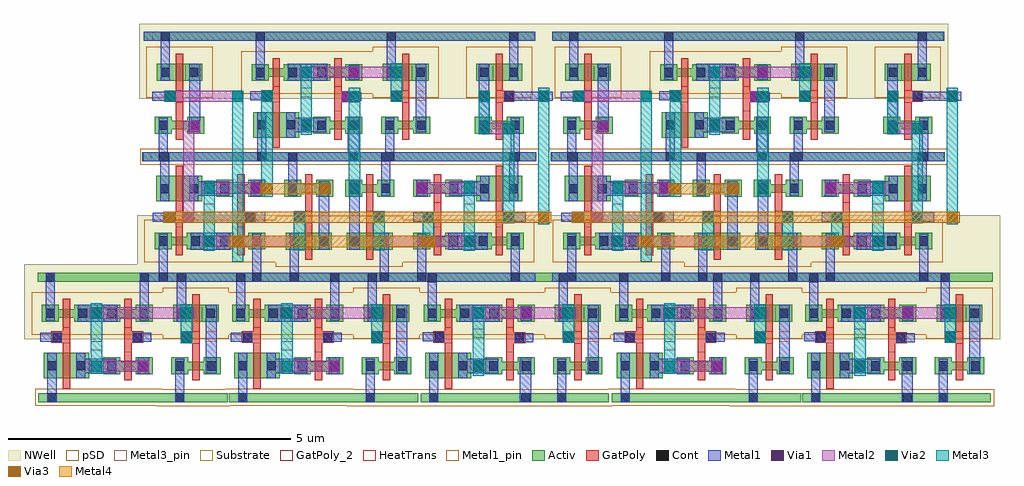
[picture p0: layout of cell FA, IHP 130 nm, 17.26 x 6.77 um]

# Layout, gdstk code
from math import pi, radians
import gdstk
lib = gdstk.Library(unit=1e-6, precision=5e-09)
def R(c, l, rs):  # rectangles x0, y0, x1, y1
    for r in rs: c.add(gdstk.rectangle(r[:2], r[2:], *l))
Activ = (1, 0)
GatPoly = (5, 0)
GatPoly_2 = (5, 2)
Cont = (6, 0)
Metal1 = (8, 0)
Metal1_pin = (8, 2)
Metal2 = (10, 0)
pSD = (14, 0)
Via1 = (19, 0)
Via2 = (29, 0)
Metal3 = (30, 0)
Metal3_pin = (30, 2)
NWell = (31, 0)
Substrate = (40, 0)
Via3 = (49, 0)
Metal4 = (50, 0)
HeatTrans = (51, 0)

pmos_3 = lib.new_cell('pmos$3')
R(pmos_3, Activ, [(0,0,0.3,0.3), (0.57,0,0.87,0.3), (0,0.075,0.87,0.225)])
R(pmos_3, GatPoly, [(0.37,-0.105,0.5,0.405), (0.37,-0.105,0.5,0.405)])
R(pmos_3, Cont, [(0.07,0.07,0.23,0.23), (0.64,0.07,0.8,0.23)])
R(pmos_3, Metal1, [(0.07,0.02,0.23,0.28), (0.07,0.02,0.23,0.28), (0.64,0.02,0.8,0.28), (0.64,0.02,0.8,0.28)])
R(pmos_3, pSD, [(-0.18,-0.225,1.05,0.525)])
R(pmos_3, NWell, [(-0.31,-0.31,1.18,0.61)])
R(pmos_3, Substrate, [(0.57,0,0.87,0.3)])
R(pmos_3, HeatTrans, [(0.37,-0.105,0.5,0.405)])
pmos_3.add(gdstk.Label('pmos', (0.435,0.15), layer=63, texttype=0))
pmos_3.add(gdstk.Label('pmos', (0.435,0.15), layer=51, texttype=0))

nmos_2 = lib.new_cell('nmos$2')
R(nmos_2, Activ, [(0,0,0.3,0.3), (0,0,0.81,0.45), (0.51,0,0.81,0.3)])
R(nmos_2, GatPoly, [(0.34,-0.18,0.47,0.63)])
R(nmos_2, GatPoly_2, [(0.34,-0.18,0.47,0.63)])
R(nmos_2, Cont, [(0.07,0.145,0.23,0.305), (0.58,0.145,0.74,0.305)])
R(nmos_2, Metal1, [(0.07,0,0.23,0.45), (0.58,0,0.74,0.45)])
R(nmos_2, Metal1_pin, [(0.07,0,0.23,0.45), (0.58,0,0.74,0.45)])
R(nmos_2, HeatTrans, [(0.34,-0.18,0.47,0.63)])
nmos_2.add(gdstk.Label('nmos', (0.405,0.225), layer=63, texttype=0))
nmos_2.add(gdstk.Label('nmos', (0.405,0.225), layer=51, texttype=0))

nmos_3_2 = lib.new_cell('nmos$3$2')
R(nmos_3_2, Activ, [(0,0,0.3,0.3), (0.57,0,0.87,0.3), (0,0.075,0.87,0.225)])
R(nmos_3_2, GatPoly, [(0.37,-0.105,0.5,0.405)])
R(nmos_3_2, GatPoly_2, [(0.37,-0.105,0.5,0.405)])
R(nmos_3_2, Cont, [(0.07,0.07,0.23,0.23), (0.64,0.07,0.8,0.23)])
R(nmos_3_2, Metal1, [(0.07,0.02,0.23,0.28), (0.64,0.02,0.8,0.28)])
R(nmos_3_2, Metal1_pin, [(0.07,0.02,0.23,0.28), (0.64,0.02,0.8,0.28)])
R(nmos_3_2, HeatTrans, [(0.37,-0.105,0.5,0.405)])
nmos_3_2.add(gdstk.Label('nmos', (0.435,0.15), layer=63, texttype=0))
nmos_3_2.add(gdstk.Label('nmos', (0.435,0.15), layer=51, texttype=0))

via1_constraint_2 = lib.new_cell('Via1_constraint$2')
R(via1_constraint_2, Metal1, [(0,0,0.2,0.2)])
R(via1_constraint_2, Metal2, [(0,0,0.2,0.2)])
R(via1_constraint_2, Via1, [(0.005,0.005,0.195,0.195)])

via2_constraint_2 = lib.new_cell('Via2_constraint$2')
R(via2_constraint_2, Metal2, [(-0.005,-0.005,0.195,0.195)])
R(via2_constraint_2, Via2, [(0,0,0.19,0.19)])
R(via2_constraint_2, Metal3, [(-0.005,-0.005,0.195,0.195)])

nand_1 = lib.new_cell('NAND$1')
R(nand_1, Activ, [(-0.075,-0.175,2.075,-0.015), (-0.085,1.955,2.095,2.115)])
R(nand_1, GatPoly, [(1.45,0.615,1.58,1.16), (0.16,0.875,0.36,1.075), (0.36,0.875,0.49,1.145), (1.58,0.875,1.78,1.075)])
R(nand_1, Cont, [(0.09,-0.175,0.25,-0.015), (0.18,0.895,0.34,1.055), (1.595,0.895,1.755,1.055), (0.06,1.955,0.22,2.115), (1.72,1.955,1.88,2.115)])
R(nand_1, Metal1, [(0.09,-0.175,0.25,0.245), (1.69,0.315,1.89,0.615), (0.76,0.335,1.31,0.595), (0.18,0.895,0.34,1.055), (1.595,0.895,1.755,1.055), (0.625,1.25,1.325,1.55), (0.06,1.525,0.22,2.115), (1.72,1.525,1.88,2.115)])
R(nand_1, Metal1_pin, [(0.09,-0.175,0.25,-0.015), (0.18,0.895,0.34,1.055), (1.595,0.895,1.755,1.055), (0.06,1.955,0.22,2.115), (1.72,1.955,1.88,2.115)])
R(nand_1, Metal2, [(0.825,0.36,1.89,0.56)])
R(nand_1, pSD, [(-0.13,-0.24,2.115,0.05)])
R(nand_1, Metal3, [(0.855,0.325,1.055,1.57)])
R(nand_1, Metal3_pin, [(0.855,0.74,1.055,0.905)])
R(nand_1, NWell, [(-0.325,1.855,2.26,2.26)])
nand_1.add(gdstk.Reference(pmos_3, (1.95,1.245), rotation=pi, x_reflection=True))
nand_1.add(gdstk.Reference(nmos_2, (0.83,0.245), rotation=pi, x_reflection=True))
nand_1.add(gdstk.Reference(nmos_3_2, (1.95,0.315), rotation=pi, x_reflection=True))
nand_1.add(gdstk.Reference(pmos_3, (0.86,1.245), rotation=pi, x_reflection=True))
nand_1.add(gdstk.Reference(via1_constraint_2, (1.69,0.36)))
nand_1.add(gdstk.Reference(via2_constraint_2, (0.86,0.365)))
nand_1.add(gdstk.Reference(via2_constraint_2, (0.86,1.305)))
nand_1.add(gdstk.Reference(via1_constraint_2, (0.855,1.3)))
nand_1.add(gdstk.Label('VA', (1.63,1.035), layer=8, texttype=2))
nand_1.add(gdstk.Label('VSS', (0.16,-0.05), layer=8, texttype=2))
nand_1.add(gdstk.Label('VDD', (0.085,2.075), layer=8, texttype=2))
nand_1.add(gdstk.Label('VDD', (1.745,2.075), layer=8, texttype=2))
nand_1.add(gdstk.Label('VB', (0.215,1.025), layer=8, texttype=2))
nand_1.add(gdstk.Label('VB', (0.295,1.015), layer=8, texttype=25))
nand_1.add(gdstk.Label('VOUT', (0.97,0.84), layer=30, texttype=2))

nmos_1_1 = lib.new_cell('nmos$1$1')
R(nmos_1_1, Activ, [(0,-0.145,0.3,0.155), (0.57,-0.145,0.87,0.155), (0,-0.07,0.87,0.08)])
R(nmos_1_1, GatPoly, [(0.37,-0.25,0.5,0.405)])
R(nmos_1_1, Cont, [(0.07,-0.075,0.23,0.085), (0.64,-0.075,0.8,0.085)])
R(nmos_1_1, Metal1, [(0.07,-0.125,0.23,0.135), (0.64,-0.125,0.8,0.135)])
R(nmos_1_1, Metal1_pin, [(0.07,-0.125,0.23,0.135), (0.64,-0.125,0.8,0.135)])
R(nmos_1_1, HeatTrans, [(0.37,-0.25,0.5,0.405)])
nmos_1_1.add(gdstk.Label('nmos', (0.435,0.005), layer=63, texttype=0))
nmos_1_1.add(gdstk.Label('nmos', (0.435,0.005), layer=51, texttype=0))

pmos_1_2 = lib.new_cell('pmos$1$2')
R(pmos_1_2, Activ, [(0,0,0.3,0.3), (0,0,0.81,0.3), (0.51,0,0.81,0.3)])
R(pmos_1_2, GatPoly, [(0.34,-0.18,0.47,0.48), (0.34,-0.18,0.47,0.48)])
R(pmos_1_2, Cont, [(0.07,0.07,0.23,0.23), (0.58,0.07,0.74,0.23)])
R(pmos_1_2, Metal1, [(0.07,0,0.23,0.3), (0.07,0,0.23,0.3), (0.58,0,0.74,0.3), (0.58,0,0.74,0.3)])
R(pmos_1_2, pSD, [(-0.18,-0.3,0.99,0.6)])
R(pmos_1_2, NWell, [(-0.31,-0.315,1.12,0.61)])
R(pmos_1_2, Substrate, [(0.51,0,0.81,0.3)])
R(pmos_1_2, HeatTrans, [(0.34,-0.18,0.47,0.48)])
pmos_1_2.add(gdstk.Label('pmos', (0.405,0.15), layer=63, texttype=0))
pmos_1_2.add(gdstk.Label('pmos', (0.405,0.15), layer=51, texttype=0))

inv_d1_2 = lib.new_cell('INV_D1$2')
R(inv_d1_2, Activ, [(-0.655,-1.24,0.555,-1.08), (-0.64,0.89,0.575,1.05)])
R(inv_d1_2, GatPoly, [(-0.075,-0.2,0.055,0.005), (-0.275,-0.19,-0.075,0.01)])
R(inv_d1_2, Cont, [(-0.375,-1.24,-0.215,-1.08), (-0.255,-0.17,-0.095,-0.01), (-0.345,0.89,-0.185,1.05)])
R(inv_d1_2, Metal1, [(-0.375,-1.24,-0.215,-0.73), (0.165,-0.73,0.355,0.485), (-0.255,-0.17,-0.095,-0.01), (-0.345,0.485,-0.185,1.05)])
R(inv_d1_2, Metal1_pin, [(-0.375,-1.24,-0.215,-1.08), (-0.255,-0.17,-0.095,-0.01), (0.165,-0.17,0.355,0.01), (-0.345,0.89,-0.185,1.05)])
R(inv_d1_2, pSD, [(-0.705,-1.305,0.6,-1.015)])
R(inv_d1_2, NWell, [(-0.725,0.795,0.705,1.195)])
inv_d1_2.add(gdstk.Reference(nmos_1_1, (-0.445,-0.605)))
inv_d1_2.add(gdstk.Reference(pmos_1_2, (-0.415,0.185)))
inv_d1_2.add(gdstk.Label('VDD', (-0.215,1.025), layer=8, texttype=2))
inv_d1_2.add(gdstk.Label('VSS', (-0.26,-1.105), layer=8, texttype=2))
inv_d1_2.add(gdstk.Label('VIN', (-0.155,-0.05), layer=8, texttype=2))
inv_d1_2.add(gdstk.Label('VOUT', (0.315,-0.025), layer=8, texttype=2))
inv_d1_2.add(gdstk.Label('VIN', (-0.23,-0.145), layer=8, texttype=25))

and_1 = lib.new_cell('AND$1')
R(and_1, Metal1, [(0.285,1.145,0.665,1.305), (1.92,1.145,2.27,1.305)])
R(and_1, Metal2, [(1.165,1.55,3,1.75)])
R(and_1, Metal3, [(2.775,1.125,2.975,1.805)])
and_1.add(gdstk.Reference(nand_1, (0.325,0.25)))
and_1.add(gdstk.Reference(inv_d1_2, (3.05,1.315)))
and_1.add(gdstk.Reference(via2_constraint_2, (2.78,1.555)))
and_1.add(gdstk.Reference(via1_constraint_2, (2.775,1.125)))
and_1.add(gdstk.Reference(via2_constraint_2, (2.78,1.125)))
and_1.add(gdstk.Label('VB', (0.315,1.165), layer=8, texttype=25))
and_1.add(gdstk.Label('VDD', (0.48,2.22), layer=8, texttype=25))
and_1.add(gdstk.Label('VSS', (0.505,0.095), layer=8, texttype=25))
and_1.add(gdstk.Label('VA', (2.2,1.155), layer=8, texttype=25))
and_1.add(gdstk.Label('VOUT', (3.39,1.165), layer=8, texttype=25))

via1_constraint_1_1 = lib.new_cell('Via1_constraint$1$1')
R(via1_constraint_1_1, Metal1, [(0,0,0.2,0.2)])
R(via1_constraint_1_1, Metal2, [(0,0,0.2,0.2)])
R(via1_constraint_1_1, Via1, [(0.005,0.005,0.195,0.195)])

via2_constraint_1_1 = lib.new_cell('Via2_constraint$1$1')
R(via2_constraint_1_1, Metal2, [(0,0,0.2,0.2)])
R(via2_constraint_1_1, Via2, [(0.005,0.005,0.195,0.195)])
R(via2_constraint_1_1, Metal3, [(0,0,0.2,0.2)])

pmos_2_1 = lib.new_cell('pmos$2$1')
R(pmos_2_1, Activ, [(0,0,0.3,0.3), (0.57,0,0.87,0.3), (0,0.075,0.87,0.225)])
R(pmos_2_1, GatPoly, [(0.37,-0.105,0.5,0.405), (0.37,-0.105,0.5,0.405)])
R(pmos_2_1, Cont, [(0.07,0.07,0.23,0.23), (0.64,0.07,0.8,0.23)])
R(pmos_2_1, Metal1, [(0.07,0.02,0.23,0.28), (0.07,0.02,0.23,0.28), (0.64,0.02,0.8,0.28), (0.64,0.02,0.8,0.28)])
R(pmos_2_1, pSD, [(-0.18,-0.225,1.05,0.525)])
R(pmos_2_1, NWell, [(-0.31,-0.31,1.18,0.61)])
R(pmos_2_1, Substrate, [(0.57,0,0.87,0.3)])
R(pmos_2_1, HeatTrans, [(0.37,-0.105,0.5,0.405)])
pmos_2_1.add(gdstk.Label('pmos', (0.435,0.15), layer=63, texttype=0))
pmos_2_1.add(gdstk.Label('pmos', (0.435,0.15), layer=51, texttype=0))

nmos_3_1_1 = lib.new_cell('nmos$3$1$1')
R(nmos_3_1_1, Activ, [(0,0,0.3,0.3), (0.57,0,0.87,0.3), (0,0.075,0.87,0.225)])
R(nmos_3_1_1, GatPoly, [(0.37,-0.105,0.5,0.405)])
R(nmos_3_1_1, GatPoly_2, [(0.37,-0.105,0.5,0.405)])
R(nmos_3_1_1, Cont, [(0.07,0.07,0.23,0.23), (0.64,0.07,0.8,0.23)])
R(nmos_3_1_1, Metal1, [(0.07,0.02,0.23,0.28), (0.64,0.02,0.8,0.28)])
R(nmos_3_1_1, Metal1_pin, [(0.07,0.02,0.23,0.28), (0.64,0.02,0.8,0.28)])
R(nmos_3_1_1, HeatTrans, [(0.37,-0.105,0.5,0.405)])
nmos_3_1_1.add(gdstk.Label('nmos', (0.435,0.15), layer=63, texttype=0))
nmos_3_1_1.add(gdstk.Label('nmos', (0.435,0.15), layer=51, texttype=0))

nmos_2_1_1 = lib.new_cell('nmos$2$1$1')
R(nmos_2_1_1, Activ, [(0,0,0.3,0.3), (0,0,0.81,0.45), (0.51,0,0.81,0.3)])
R(nmos_2_1_1, GatPoly, [(0.34,-0.18,0.47,0.63)])
R(nmos_2_1_1, GatPoly_2, [(0.34,-0.18,0.47,0.63)])
R(nmos_2_1_1, Cont, [(0.07,0.145,0.23,0.305), (0.58,0.145,0.74,0.305)])
R(nmos_2_1_1, Metal1, [(0.07,0,0.23,0.45), (0.58,0,0.74,0.45)])
R(nmos_2_1_1, Metal1_pin, [(0.07,0,0.23,0.45), (0.58,0,0.74,0.45)])
R(nmos_2_1_1, HeatTrans, [(0.34,-0.18,0.47,0.63)])
nmos_2_1_1.add(gdstk.Label('nmos', (0.405,0.225), layer=63, texttype=0))
nmos_2_1_1.add(gdstk.Label('nmos', (0.405,0.225), layer=51, texttype=0))

nor_1 = lib.new_cell('NOR$1')
R(nor_1, Activ, [(-0.065,-0.175,2.06,-0.015), (-0.085,1.955,2.07,2.115)])
R(nor_1, GatPoly, [(1.45,0.615,1.58,1.16), (1.58,0.865,1.78,1.065), (0.16,0.875,0.36,1.075), (0.36,0.875,0.49,1.145)])
R(nor_1, Cont, [(0.09,-0.175,0.25,-0.015), (1.71,-0.175,1.87,-0.015), (1.595,0.885,1.755,1.045), (0.18,0.895,0.34,1.055), (0.06,1.955,0.22,2.115)])
R(nor_1, Metal1, [(0.09,-0.175,0.25,0.245), (1.69,-0.175,1.89,0.315), (1.69,0.315,1.89,0.615), (0.6,0.335,1.31,0.595), (1.595,0.885,1.755,1.045), (0.18,0.895,0.34,1.055), (0.625,1.25,1.325,1.55), (1.705,1.265,1.895,1.525), (0.06,1.525,0.22,2.115)])
R(nor_1, Metal1_pin, [(0.09,-0.175,0.25,-0.015), (1.71,-0.175,1.87,-0.015), (1.595,0.885,1.755,1.045), (0.18,0.895,0.34,1.055), (0.06,1.955,0.22,2.115)])
R(nor_1, Metal2, [(0.845,1.3,1.895,1.5)])
R(nor_1, pSD, [(-0.13,-0.24,2.115,0.05)])
R(nor_1, Via1, [(1.705,1.31,1.895,1.5)])
R(nor_1, Metal3, [(0.855,0.295,1.055,1.54)])
R(nor_1, Metal3_pin, [(0.855,0.96,1.055,1.125)])
R(nor_1, NWell, [(-0.32,1.855,2.26,2.26)])
nor_1.add(gdstk.Reference(via1_constraint_1_1, (0.855,0.565), x_reflection=True))
nor_1.add(gdstk.Reference(via2_constraint_1_1, (0.855,0.565), x_reflection=True))
nor_1.add(gdstk.Reference(via2_constraint_1_1, (0.855,1.5), x_reflection=True))
nor_1.add(gdstk.Reference(pmos_2_1, (0.86,1.245), rotation=pi, x_reflection=True))
nor_1.add(gdstk.Reference(nmos_3_1_1, (1.95,0.315), rotation=pi, x_reflection=True))
nor_1.add(gdstk.Reference(nmos_2_1_1, (0.83,0.245), rotation=pi, x_reflection=True))
nor_1.add(gdstk.Reference(pmos_2_1, (1.95,1.245), rotation=pi, x_reflection=True))
nor_1.add(gdstk.Label('VDD', (0.085,2.075), layer=8, texttype=2))
nor_1.add(gdstk.Label('VSS', (0.16,-0.05), layer=8, texttype=2))
nor_1.add(gdstk.Label('VSS', (1.78,-0.05), layer=8, texttype=2))
nor_1.add(gdstk.Label('VA', (0.235,0.975), layer=8, texttype=2))
nor_1.add(gdstk.Label('VB', (1.625,0.965), layer=8, texttype=2))
nor_1.add(gdstk.Label('VB', (1.705,0.955), layer=8, texttype=25))
nor_1.add(gdstk.Label('VOUT', (0.97,1.025), layer=30, texttype=2))

pmos_1_1_1 = lib.new_cell('pmos$1$1$1')
R(pmos_1_1_1, Activ, [(0,0,0.3,0.3), (0,0,0.81,0.3), (0.51,0,0.81,0.3)])
R(pmos_1_1_1, GatPoly, [(0.34,-0.18,0.47,0.48), (0.34,-0.18,0.47,0.48)])
R(pmos_1_1_1, Cont, [(0.07,0.07,0.23,0.23), (0.58,0.07,0.74,0.23)])
R(pmos_1_1_1, Metal1, [(0.07,0,0.23,0.3), (0.07,0,0.23,0.3), (0.58,0,0.74,0.3), (0.58,0,0.74,0.3)])
R(pmos_1_1_1, pSD, [(-0.18,-0.3,0.99,0.6)])
R(pmos_1_1_1, NWell, [(-0.31,-0.315,1.12,0.61)])
R(pmos_1_1_1, Substrate, [(0.51,0,0.81,0.3)])
R(pmos_1_1_1, HeatTrans, [(0.34,-0.18,0.47,0.48)])
pmos_1_1_1.add(gdstk.Label('pmos', (0.405,0.15), layer=63, texttype=0))
pmos_1_1_1.add(gdstk.Label('pmos', (0.405,0.15), layer=51, texttype=0))

inv_d1_1_1 = lib.new_cell('INV_D1$1$1')
R(inv_d1_1_1, Activ, [(-0.68,-1.24,0.54,-1.08), (-0.655,0.89,0.575,1.05)])
R(inv_d1_1_1, GatPoly, [(-0.075,-0.2,0.055,0.005), (-0.275,-0.19,-0.075,0.01)])
R(inv_d1_1_1, Cont, [(-0.375,-1.24,-0.215,-1.08), (-0.255,-0.17,-0.095,-0.01), (-0.345,0.89,-0.185,1.05)])
R(inv_d1_1_1, Metal1, [(-0.375,-1.24,-0.215,-0.73), (0.165,-0.73,0.355,0.485), (-0.255,-0.17,-0.095,-0.01), (-0.345,0.485,-0.185,1.05)])
R(inv_d1_1_1, Metal1_pin, [(-0.375,-1.24,-0.215,-1.08), (-0.255,-0.17,-0.095,-0.01), (0.165,-0.17,0.355,0.01), (-0.345,0.89,-0.185,1.05)])
R(inv_d1_1_1, pSD, [(-0.705,-1.305,0.6,-1.015)])
R(inv_d1_1_1, NWell, [(-0.725,0.795,0.705,1.195)])
R(inv_d1_1_1, Substrate, [(0.095,0.185,0.395,0.485)])
inv_d1_1_1.add(gdstk.Reference(pmos_1_1_1, (-0.415,0.185)))
inv_d1_1_1.add(gdstk.Reference(nmos_1_1, (-0.445,-0.605)))
inv_d1_1_1.add(gdstk.Label('nmos', (-0.015,-0.75), layer=63, texttype=0))
inv_d1_1_1.add(gdstk.Label('VSS', (-0.26,-1.105), layer=8, texttype=2))
inv_d1_1_1.add(gdstk.Label('VDD', (-0.215,1.025), layer=8, texttype=2))
inv_d1_1_1.add(gdstk.Label('VIN', (-0.155,-0.05), layer=8, texttype=2))
inv_d1_1_1.add(gdstk.Label('VOUT', (0.315,-0.025), layer=8, texttype=2))
inv_d1_1_1.add(gdstk.Label('VIN', (-0.23,-0.145), layer=8, texttype=25))

or_1 = lib.new_cell('OR$1')
R(or_1, Metal1, [(1.595,0.885,1.925,1.045), (-0.03,0.9,0.35,1.06)])
R(or_1, Metal2, [(0.84,1.3,2.675,1.5)])
R(or_1, Metal3, [(2.45,0.875,2.65,1.555)])
or_1.add(gdstk.Reference(nor_1, (0,0)))
or_1.add(gdstk.Reference(inv_d1_1_1, (2.725,1.065)))
or_1.add(gdstk.Reference(via2_constraint_1_1, (2.45,1.3)))
or_1.add(gdstk.Reference(via1_constraint_1_1, (2.45,0.875)))
or_1.add(gdstk.Reference(via2_constraint_1_1, (2.45,0.875)))
or_1.add(gdstk.Label('VB', (1.885,0.995), layer=8, texttype=25))
or_1.add(gdstk.Label('VA', (0.03,0.995), layer=8, texttype=25))
or_1.add(gdstk.Label('VDD', (0.165,1.98), layer=8, texttype=25))
or_1.add(gdstk.Label('VSS', (0.19,-0.15), layer=8, texttype=25))
or_1.add(gdstk.Label('VOUT', (3.03,0.99), layer=8, texttype=25))

xor_placement = lib.new_cell('XOR_placement')
xor_placement.add(gdstk.Reference(and_1, (-0.16,3.03), x_reflection=True))
xor_placement.add(gdstk.Reference(or_1, (1.88,2.97)))
xor_placement.add(gdstk.Reference(inv_d1_2, (0.605,4.035)))
xor_placement.add(gdstk.Reference(inv_d1_2, (6.24,4.035), rotation=pi, x_reflection=True))
xor_placement.add(gdstk.Reference(and_1, (7,3.03), rotation=pi))

via3_constraint = lib.new_cell('Via3_constraint')
R(via3_constraint, Metal3, [(0,0,0.2,0.2)])
R(via3_constraint, Via3, [(0.005,0.005,0.195,0.195)])
R(via3_constraint, Metal4, [(0,0,0.2,0.2)])

xor_routed = lib.new_cell('XOR_routed')
R(xor_routed, Activ, [(0.125,4.405,6.99,4.565)])
xor_routed.add(gdstk.FlexPath([(6.045,2.855),(6.675,2.855)], 0.2, ends="flush", simple_path=True, layer=10, datatype=0))  # Metal2
xor_routed.add(gdstk.FlexPath([(3.95,3.415),(3.62,3.415)], 0.2, ends="flush", simple_path=True, layer=10, datatype=0))  # Metal2
xor_routed.add(gdstk.FlexPath([(0.485,3.425),(1.885,3.425)], 0.2, ends="flush", simple_path=True, layer=10, datatype=0))  # Metal2
xor_routed.add(gdstk.FlexPath([(0.92,1.185),(0.92,2.885),(1.12,2.885)], 0.2, ends="flush", simple_path=True, layer=10, datatype=0))  # Metal2
xor_routed.add(gdstk.FlexPath([(6.145,3.525),(6.145,2.755)], 0.2, ends="flush", simple_path=True, layer=30, datatype=0))  # Metal3
xor_routed.add(gdstk.FlexPath([(6.575,1.18),(6.575,2.985)], 0.2, ends="flush", simple_path=True, layer=30, datatype=0))  # Metal3
xor_routed.add(gdstk.FlexPath([(2.3,3.53),(2.3,1.645)], 0.2, ends="flush", simple_path=True, layer=30, datatype=0))  # Metal3
xor_routed.add(gdstk.FlexPath([(3.85,1.645),(3.85,3.575)], 0.2, ends="flush", simple_path=True, layer=30, datatype=0))  # Metal3
xor_routed.add(gdstk.FlexPath([(1.785,3.525),(1.785,0.495)], 0.2, ends="flush", simple_path=True, layer=30, datatype=0))  # Metal3
xor_routed.add(gdstk.FlexPath([(7.195,3.575),(7.195,1.16)], 0.2, ends="flush", simple_path=True, layer=30, datatype=0))  # Metal3
xor_routed.add(gdstk.FlexPath([(5.155,0.755),(5.155,1.385)], 0.2, ends="flush", simple_path=True, layer=30, datatype=0))  # Metal3
xor_routed.add(gdstk.FlexPath([(2.27,1.285),(0.82,1.285)], 0.2, ends="flush", simple_path=True, layer=8, datatype=0))  # Metal1
xor_routed.add(gdstk.FlexPath([(6.495,3.425),(7.355,3.425)], 0.16, ends="flush", simple_path=True, layer=8, datatype=0))  # Metal1
xor_routed.add(gdstk.FlexPath([(3.43,1.79),(2.18,1.79)], 0.2, ends="flush", simple_path=True, layer=50, datatype=0))  # Metal4
xor_routed.add(gdstk.FlexPath([(0.465,1.285),(7.33,1.285)], 0.2, ends="flush", simple_path=True, layer=50, datatype=0))  # Metal4
xor_routed.add(gdstk.FlexPath([(5.29,0.855),(1.625,0.855)], 0.2, ends="flush", simple_path=True, layer=50, datatype=0))  # Metal4
xor_routed.add(gdstk.Reference(xor_placement, (0.16,-0.52)))
xor_routed.add(gdstk.Reference(via1_constraint_2, (0.49,3.325)))
xor_routed.add(gdstk.Reference(via2_constraint_2, (0.495,3.33)))
xor_routed.add(gdstk.Reference(via1_constraint_2, (6.045,3.325)))
xor_routed.add(gdstk.Reference(via1_constraint_2, (0.82,1.185)))
xor_routed.add(gdstk.Reference(via2_constraint_2, (6.05,3.33)))
xor_routed.add(gdstk.Reference(via2_constraint_2, (6.48,2.76)))
xor_routed.add(gdstk.Reference(via2_constraint_2, (6.48,1.185)))
xor_routed.add(gdstk.Reference(via1_constraint_2, (6.475,1.18)))
xor_routed.add(gdstk.Reference(via2_constraint_2, (6.05,2.76)))
xor_routed.add(gdstk.Reference(xor_placement, (0.16,-0.52)))
xor_routed.add(gdstk.Reference(via1_constraint_2, (3.23,1.69)))
xor_routed.add(gdstk.Reference(via2_constraint_2, (3.235,1.695)))
xor_routed.add(gdstk.Reference(via3_constraint, (3.23,1.69)))
xor_routed.add(gdstk.Reference(via3_constraint, (2.2,1.69)))
xor_routed.add(gdstk.Reference(via2_constraint_2, (2.205,3.33)))
xor_routed.add(gdstk.Reference(via1_constraint_2, (2.2,3.325)))
xor_routed.add(gdstk.Reference(via1_constraint_2, (3.75,1.695)))
xor_routed.add(gdstk.Reference(via2_constraint_2, (3.755,1.7)))
xor_routed.add(gdstk.Reference(via2_constraint_2, (3.755,3.32)))
xor_routed.add(gdstk.Reference(via1_constraint_2, (3.62,3.315)))
xor_routed.add(gdstk.Reference(via3_constraint, (7.095,1.185)))
xor_routed.add(gdstk.Reference(via2_constraint_2, (1.69,3.33)))
xor_routed.add(gdstk.Reference(via3_constraint, (1.685,0.755)))
xor_routed.add(gdstk.Reference(via1_constraint_2, (0.485,1.185)))
xor_routed.add(gdstk.Reference(via2_constraint_2, (0.49,1.19)))
xor_routed.add(gdstk.Reference(via3_constraint, (0.485,1.185)))
xor_routed.add(gdstk.Reference(via1_constraint_2, (7.095,3.325)))
xor_routed.add(gdstk.Reference(via2_constraint_2, (7.1,3.33)))
xor_routed.add(gdstk.Reference(via1_constraint_2, (0.92,2.785)))
xor_routed.add(gdstk.Reference(via1_constraint_2, (5.055,1.185)))
xor_routed.add(gdstk.Reference(via2_constraint_2, (5.06,1.19)))
xor_routed.add(gdstk.Reference(via3_constraint, (5.055,0.755)))

xor = lib.new_cell('XOR')
R(xor, Metal1, [(7.005,3.345,7.315,3.505)])
R(xor, Metal1_pin, [(0.44,2.275,0.6,2.435), (0.855,3.345,1.015,3.505), (7.155,3.345,7.315,3.505), (5.29,3.355,5.45,3.515), (0.47,4.405,0.63,4.565)])
R(xor, NWell, [(0.385,3.385,7.47,4.71)])
xor.add(gdstk.FlexPath([(0.47,4.485),(7.395,4.485)], 0.16, ends="flush", simple_path=True, layer=8, datatype=0))  # Metal1
xor.add(gdstk.FlexPath([(0.47,0.225),(7.395,0.225)], 0.16, ends="flush", simple_path=True, layer=8, datatype=0))  # Metal1
xor.add(gdstk.FlexPath([(0.44,2.355),(7.41,2.355)], 0.16, ends="flush", simple_path=True, layer=8, datatype=0))  # Metal1
xor.add(gdstk.FlexPath([(0.62,3.425),(1.035,3.425)], 0.16, ends="flush", simple_path=True, layer=8, datatype=0))  # Metal1
xor.add(gdstk.Reference(xor_routed, (0.345,0)))
xor.add(gdstk.Label('OUT', (5.44,3.495), layer=8, texttype=2))
xor.add(gdstk.Label('B', (7.305,3.485), layer=8, texttype=2))
xor.add(gdstk.Label('A', (0.91,3.485), layer=8, texttype=2))
xor.add(gdstk.Label('VDD', (0.62,4.545), layer=8, texttype=2))
xor.add(gdstk.Label('VSS', (0.59,2.415), layer=8, texttype=2))
xor.add(gdstk.Label('OUT', (5.44,3.37), layer=8, texttype=25))
xor.add(gdstk.Label('B', (7.305,3.36), layer=8, texttype=25))
xor.add(gdstk.Label('A', (0.91,3.36), layer=8, texttype=25))
xor.add(gdstk.Label('VDD', (0.62,4.42), layer=8, texttype=25))
xor.add(gdstk.Label('VSS', (0.59,2.29), layer=8, texttype=25))

xor_track = lib.new_cell('XOR_Track')
xor_track.add(gdstk.Reference(xor, (0,0)))

pmos = lib.new_cell('pmos')
R(pmos, Activ, [(0,0,0.3,0.3), (0.57,0,0.87,0.3), (0,0.075,0.87,0.225)])
R(pmos, GatPoly, [(0.37,-0.105,0.5,0.405), (0.37,-0.105,0.5,0.405)])
R(pmos, Cont, [(0.07,0.07,0.23,0.23), (0.64,0.07,0.8,0.23)])
R(pmos, Metal1, [(0.07,0.02,0.23,0.28), (0.07,0.02,0.23,0.28), (0.64,0.02,0.8,0.28), (0.64,0.02,0.8,0.28)])
R(pmos, pSD, [(-0.18,-0.225,1.05,0.525)])
R(pmos, NWell, [(-0.31,-0.31,1.18,0.61)])
R(pmos, Substrate, [(0.57,0,0.87,0.3)])
R(pmos, HeatTrans, [(0.37,-0.105,0.5,0.405)])
pmos.add(gdstk.Label('pmos', (0.435,0.15), layer=63, texttype=0))
pmos.add(gdstk.Label('pmos', (0.435,0.15), layer=51, texttype=0))

nmos = lib.new_cell('nmos')
R(nmos, Activ, [(0,0,0.3,0.3), (0,0,0.81,0.45), (0.51,0,0.81,0.3)])
R(nmos, GatPoly, [(0.34,-0.18,0.47,0.63)])
R(nmos, GatPoly_2, [(0.34,-0.18,0.47,0.63)])
R(nmos, Cont, [(0.07,0.145,0.23,0.305), (0.58,0.145,0.74,0.305)])
R(nmos, Metal1, [(0.07,0,0.23,0.45), (0.58,0,0.74,0.45)])
R(nmos, Metal1_pin, [(0.07,0,0.23,0.45), (0.58,0,0.74,0.45)])
R(nmos, HeatTrans, [(0.34,-0.18,0.47,0.63)])
nmos.add(gdstk.Label('nmos', (0.405,0.225), layer=63, texttype=0))
nmos.add(gdstk.Label('nmos', (0.405,0.225), layer=51, texttype=0))

nmos_3 = lib.new_cell('nmos$3')
R(nmos_3, Activ, [(0,0,0.3,0.3), (0.57,0,0.87,0.3), (0,0.075,0.87,0.225)])
R(nmos_3, GatPoly, [(0.37,-0.105,0.5,0.405)])
R(nmos_3, GatPoly_2, [(0.37,-0.105,0.5,0.405)])
R(nmos_3, Cont, [(0.07,0.07,0.23,0.23), (0.64,0.07,0.8,0.23)])
R(nmos_3, Metal1, [(0.07,0.02,0.23,0.28), (0.64,0.02,0.8,0.28)])
R(nmos_3, Metal1_pin, [(0.07,0.02,0.23,0.28), (0.64,0.02,0.8,0.28)])
R(nmos_3, HeatTrans, [(0.37,-0.105,0.5,0.405)])
nmos_3.add(gdstk.Label('nmos', (0.435,0.15), layer=63, texttype=0))
nmos_3.add(gdstk.Label('nmos', (0.435,0.15), layer=51, texttype=0))

via1_constraint = lib.new_cell('Via1_constraint')
R(via1_constraint, Metal1, [(0,0,0.2,0.2)])
R(via1_constraint, Metal2, [(0,0,0.2,0.2)])
R(via1_constraint, Via1, [(0.005,0.005,0.195,0.195)])

via2_constraint = lib.new_cell('Via2_constraint')
R(via2_constraint, Metal2, [(-0.005,-0.005,0.195,0.195)])
R(via2_constraint, Via2, [(0,0,0.19,0.19)])
R(via2_constraint, Metal3, [(-0.005,-0.005,0.195,0.195)])

nand = lib.new_cell('NAND')
R(nand, Activ, [(-0.075,-0.175,2.075,-0.015), (-0.085,1.955,2.095,2.115)])
R(nand, GatPoly, [(1.45,0.615,1.58,1.16), (0.16,0.875,0.36,1.075), (0.36,0.875,0.49,1.145), (1.58,0.875,1.78,1.075)])
R(nand, Cont, [(0.09,-0.175,0.25,-0.015), (0.18,0.895,0.34,1.055), (1.595,0.895,1.755,1.055), (0.06,1.955,0.22,2.115), (1.72,1.955,1.88,2.115)])
R(nand, Metal1, [(0.09,-0.175,0.25,0.245), (1.69,0.315,1.89,0.615), (0.76,0.335,1.31,0.595), (0.18,0.895,0.34,1.055), (1.595,0.895,1.755,1.055), (0.625,1.25,1.325,1.55), (0.06,1.525,0.22,2.115), (1.72,1.525,1.88,2.115)])
R(nand, Metal1_pin, [(0.09,-0.175,0.25,-0.015), (0.18,0.895,0.34,1.055), (1.595,0.895,1.755,1.055), (0.06,1.955,0.22,2.115), (1.72,1.955,1.88,2.115)])
R(nand, Metal2, [(0.825,0.36,1.89,0.56)])
R(nand, pSD, [(-0.13,-0.24,2.115,0.06)])
R(nand, Metal3, [(0.855,0.325,1.055,1.57)])
R(nand, Metal3_pin, [(0.855,0.74,1.055,0.905)])
R(nand, NWell, [(-0.325,1.855,2.26,2.26)])
nand.add(gdstk.Reference(pmos, (1.95,1.245), rotation=pi, x_reflection=True))
nand.add(gdstk.Reference(nmos, (0.83,0.245), rotation=pi, x_reflection=True))
nand.add(gdstk.Reference(nmos_3, (1.95,0.315), rotation=pi, x_reflection=True))
nand.add(gdstk.Reference(pmos, (0.86,1.245), rotation=pi, x_reflection=True))
nand.add(gdstk.Reference(via1_constraint, (1.69,0.36)))
nand.add(gdstk.Reference(via2_constraint, (0.86,0.365)))
nand.add(gdstk.Reference(via2_constraint, (0.86,1.305)))
nand.add(gdstk.Reference(via1_constraint, (0.855,1.3)))
nand.add(gdstk.Label('VA', (1.63,1.035), layer=8, texttype=2))
nand.add(gdstk.Label('VSS', (0.16,-0.05), layer=8, texttype=2))
nand.add(gdstk.Label('VDD', (0.085,2.075), layer=8, texttype=2))
nand.add(gdstk.Label('VDD', (1.745,2.075), layer=8, texttype=2))
nand.add(gdstk.Label('VB', (0.215,1.025), layer=8, texttype=2))
nand.add(gdstk.Label('VB', (0.295,1.015), layer=8, texttype=25))
nand.add(gdstk.Label('VOUT', (0.97,0.84), layer=30, texttype=2))

nmos_1 = lib.new_cell('nmos$1')
R(nmos_1, Activ, [(0,-0.145,0.3,0.155), (0.57,-0.145,0.87,0.155), (0,-0.07,0.87,0.08)])
R(nmos_1, GatPoly, [(0.37,-0.25,0.5,0.405)])
R(nmos_1, Cont, [(0.07,-0.075,0.23,0.085), (0.64,-0.075,0.8,0.085)])
R(nmos_1, Metal1, [(0.07,-0.125,0.23,0.135), (0.64,-0.125,0.8,0.135)])
R(nmos_1, Metal1_pin, [(0.07,-0.125,0.23,0.135), (0.64,-0.125,0.8,0.135)])
R(nmos_1, HeatTrans, [(0.37,-0.25,0.5,0.405)])
nmos_1.add(gdstk.Label('nmos', (0.435,0.005), layer=63, texttype=0))
nmos_1.add(gdstk.Label('nmos', (0.435,0.005), layer=51, texttype=0))

pmos_1 = lib.new_cell('pmos$1')
R(pmos_1, Activ, [(0,0,0.3,0.3), (0,0,0.81,0.3), (0.51,0,0.81,0.3)])
R(pmos_1, GatPoly, [(0.34,-0.18,0.47,0.48), (0.34,-0.18,0.47,0.48)])
R(pmos_1, Cont, [(0.07,0.07,0.23,0.23), (0.58,0.07,0.74,0.23)])
R(pmos_1, Metal1, [(0.07,0,0.23,0.3), (0.07,0,0.23,0.3), (0.58,0,0.74,0.3), (0.58,0,0.74,0.3)])
R(pmos_1, pSD, [(-0.18,-0.3,0.99,0.6)])
R(pmos_1, NWell, [(-0.31,-0.315,1.12,0.61)])
R(pmos_1, Substrate, [(0.51,0,0.81,0.3)])
R(pmos_1, HeatTrans, [(0.34,-0.18,0.47,0.48)])
pmos_1.add(gdstk.Label('pmos', (0.405,0.15), layer=63, texttype=0))
pmos_1.add(gdstk.Label('pmos', (0.405,0.15), layer=51, texttype=0))

inv_d1 = lib.new_cell('INV_D1')
R(inv_d1, Activ, [(-0.655,-1.24,0.555,-1.08), (-0.64,0.89,0.575,1.05)])
R(inv_d1, GatPoly, [(-0.075,-0.2,0.055,0.005), (-0.275,-0.19,-0.075,0.01)])
R(inv_d1, Cont, [(-0.375,-1.24,-0.215,-1.08), (-0.255,-0.17,-0.095,-0.01), (-0.345,0.89,-0.185,1.05)])
R(inv_d1, Metal1, [(-0.375,-1.24,-0.215,-0.73), (0.165,-0.73,0.355,0.485), (-0.255,-0.17,-0.095,-0.01), (-0.345,0.485,-0.185,1.05)])
R(inv_d1, Metal1_pin, [(-0.375,-1.24,-0.215,-1.08), (-0.255,-0.17,-0.095,-0.01), (0.165,-0.17,0.355,0.01), (-0.345,0.89,-0.185,1.05)])
R(inv_d1, pSD, [(-0.705,-1.315,0.6,-1.015)])
R(inv_d1, NWell, [(-0.725,0.795,0.705,1.195)])
inv_d1.add(gdstk.Reference(nmos_1, (-0.445,-0.605)))
inv_d1.add(gdstk.Reference(pmos_1, (-0.415,0.185)))
inv_d1.add(gdstk.Label('VDD', (-0.215,1.025), layer=8, texttype=2))
inv_d1.add(gdstk.Label('VSS', (-0.26,-1.105), layer=8, texttype=2))
inv_d1.add(gdstk.Label('VIN', (-0.155,-0.05), layer=8, texttype=2))
inv_d1.add(gdstk.Label('VOUT', (0.315,-0.025), layer=8, texttype=2))
inv_d1.add(gdstk.Label('VIN', (-0.23,-0.145), layer=8, texttype=25))

and_ = lib.new_cell('AND')
R(and_, Metal1, [(0.285,1.145,0.665,1.305), (1.92,1.145,2.25,1.305)])
R(and_, Metal2, [(1.165,1.55,3,1.75)])
R(and_, Metal3, [(2.775,1.125,2.975,1.805)])
and_.add(gdstk.Reference(nand, (0.325,0.25)))
and_.add(gdstk.Reference(inv_d1, (3.05,1.315)))
and_.add(gdstk.Reference(via2_constraint, (2.78,1.555)))
and_.add(gdstk.Reference(via1_constraint, (2.775,1.125)))
and_.add(gdstk.Reference(via2_constraint, (2.78,1.125)))
and_.add(gdstk.Label('VB', (0.315,1.165), layer=8, texttype=25))
and_.add(gdstk.Label('VDD', (0.48,2.22), layer=8, texttype=25))
and_.add(gdstk.Label('VSS', (0.505,0.095), layer=8, texttype=25))
and_.add(gdstk.Label('VA', (2.2,1.155), layer=8, texttype=25))
and_.add(gdstk.Label('VOUT', (3.39,1.165), layer=8, texttype=25))

pmos_2 = lib.new_cell('pmos$2')
R(pmos_2, Activ, [(0,0,0.3,0.3), (0.57,0,0.87,0.3), (0,0.075,0.87,0.225)])
R(pmos_2, GatPoly, [(0.37,-0.105,0.5,0.405), (0.37,-0.105,0.5,0.405)])
R(pmos_2, Cont, [(0.07,0.07,0.23,0.23), (0.64,0.07,0.8,0.23)])
R(pmos_2, Metal1, [(0.07,0.02,0.23,0.28), (0.07,0.02,0.23,0.28), (0.64,0.02,0.8,0.28), (0.64,0.02,0.8,0.28)])
R(pmos_2, pSD, [(-0.18,-0.225,1.05,0.525)])
R(pmos_2, NWell, [(-0.31,-0.31,1.18,0.61)])
R(pmos_2, Substrate, [(0.57,0,0.87,0.3)])
R(pmos_2, HeatTrans, [(0.37,-0.105,0.5,0.405)])
pmos_2.add(gdstk.Label('pmos', (0.435,0.15), layer=63, texttype=0))
pmos_2.add(gdstk.Label('pmos', (0.435,0.15), layer=51, texttype=0))

nmos_2_1 = lib.new_cell('nmos$2$1')
R(nmos_2_1, Activ, [(0,0,0.3,0.3), (0,0,0.81,0.45), (0.51,0,0.81,0.3)])
R(nmos_2_1, GatPoly, [(0.34,-0.18,0.47,0.63)])
R(nmos_2_1, GatPoly_2, [(0.34,-0.18,0.47,0.63)])
R(nmos_2_1, Cont, [(0.07,0.145,0.23,0.305), (0.58,0.145,0.74,0.305)])
R(nmos_2_1, Metal1, [(0.07,0,0.23,0.45), (0.58,0,0.74,0.45)])
R(nmos_2_1, Metal1_pin, [(0.07,0,0.23,0.45), (0.58,0,0.74,0.45)])
R(nmos_2_1, HeatTrans, [(0.34,-0.18,0.47,0.63)])
nmos_2_1.add(gdstk.Label('nmos', (0.405,0.225), layer=63, texttype=0))
nmos_2_1.add(gdstk.Label('nmos', (0.405,0.225), layer=51, texttype=0))

nmos_3_1 = lib.new_cell('nmos$3$1')
R(nmos_3_1, Activ, [(0,0,0.3,0.3), (0.57,0,0.87,0.3), (0,0.075,0.87,0.225)])
R(nmos_3_1, GatPoly, [(0.37,-0.105,0.5,0.405)])
R(nmos_3_1, GatPoly_2, [(0.37,-0.105,0.5,0.405)])
R(nmos_3_1, Cont, [(0.07,0.07,0.23,0.23), (0.64,0.07,0.8,0.23)])
R(nmos_3_1, Metal1, [(0.07,0.02,0.23,0.28), (0.64,0.02,0.8,0.28)])
R(nmos_3_1, Metal1_pin, [(0.07,0.02,0.23,0.28), (0.64,0.02,0.8,0.28)])
R(nmos_3_1, HeatTrans, [(0.37,-0.105,0.5,0.405)])
nmos_3_1.add(gdstk.Label('nmos', (0.435,0.15), layer=63, texttype=0))
nmos_3_1.add(gdstk.Label('nmos', (0.435,0.15), layer=51, texttype=0))

via2_constraint_1 = lib.new_cell('Via2_constraint$1')
R(via2_constraint_1, Metal2, [(0,0,0.2,0.2)])
R(via2_constraint_1, Via2, [(0.005,0.005,0.195,0.195)])
R(via2_constraint_1, Metal3, [(0,0,0.2,0.2)])

via1_constraint_1 = lib.new_cell('Via1_constraint$1')
R(via1_constraint_1, Metal1, [(0,0,0.2,0.2)])
R(via1_constraint_1, Metal2, [(0,0,0.2,0.2)])
R(via1_constraint_1, Via1, [(0.005,0.005,0.195,0.195)])

nor = lib.new_cell('NOR')
R(nor, Activ, [(-0.065,-0.175,2.06,-0.015), (-0.085,1.955,2.07,2.115)])
R(nor, GatPoly, [(1.45,0.615,1.58,1.16), (1.58,0.865,1.78,1.065), (0.16,0.875,0.36,1.075), (0.36,0.875,0.49,1.145)])
R(nor, Cont, [(0.09,-0.175,0.25,-0.015), (1.71,-0.175,1.87,-0.015), (1.595,0.885,1.755,1.045), (0.18,0.895,0.34,1.055), (0.06,1.95,0.22,2.11)])
R(nor, Metal1, [(0.09,-0.175,0.25,0.245), (1.69,-0.175,1.89,0.315), (1.69,0.315,1.89,0.615), (0.6,0.335,1.31,0.595), (1.595,0.885,1.755,1.045), (0.18,0.895,0.34,1.055), (0.625,1.25,1.325,1.55), (1.705,1.265,1.895,1.525), (0.06,1.525,0.22,2.11)])
R(nor, Metal1_pin, [(0.09,-0.175,0.25,-0.015), (1.71,-0.175,1.87,-0.015), (1.595,0.885,1.755,1.045), (0.18,0.895,0.34,1.055), (0.06,1.95,0.22,2.11)])
R(nor, Metal2, [(0.845,1.3,1.895,1.5)])
R(nor, pSD, [(-0.13,-0.25,2.115,0.05)])
R(nor, Via1, [(1.705,1.31,1.895,1.5)])
R(nor, Metal3, [(0.855,0.295,1.055,1.54)])
R(nor, Metal3_pin, [(0.855,0.96,1.055,1.125)])
R(nor, NWell, [(-0.325,1.855,2.26,2.26)])
nor.add(gdstk.Reference(pmos_2, (1.95,1.245), rotation=pi, x_reflection=True))
nor.add(gdstk.Reference(nmos_2_1, (0.83,0.245), rotation=pi, x_reflection=True))
nor.add(gdstk.Reference(nmos_3_1, (1.95,0.315), rotation=pi, x_reflection=True))
nor.add(gdstk.Reference(pmos_2, (0.86,1.245), rotation=pi, x_reflection=True))
nor.add(gdstk.Reference(via2_constraint_1, (0.855,1.5), x_reflection=True))
nor.add(gdstk.Reference(via2_constraint_1, (0.855,0.565), x_reflection=True))
nor.add(gdstk.Reference(via1_constraint_1, (0.855,0.565), x_reflection=True))
nor.add(gdstk.Label('VB', (1.625,0.965), layer=8, texttype=2))
nor.add(gdstk.Label('VA', (0.235,0.975), layer=8, texttype=2))
nor.add(gdstk.Label('VSS', (1.78,-0.05), layer=8, texttype=2))
nor.add(gdstk.Label('VDD', (0.085,2.07), layer=8, texttype=2))
nor.add(gdstk.Label('VSS', (0.16,-0.05), layer=8, texttype=2))
nor.add(gdstk.Label('VB', (1.705,0.955), layer=8, texttype=25))
nor.add(gdstk.Label('VOUT', (0.97,1.025), layer=30, texttype=2))

pmos_1_1 = lib.new_cell('pmos$1$1')
R(pmos_1_1, Activ, [(0,0,0.3,0.3), (0,0,0.81,0.3), (0.51,0,0.81,0.3)])
R(pmos_1_1, GatPoly, [(0.34,-0.18,0.47,0.48), (0.34,-0.18,0.47,0.48)])
R(pmos_1_1, Cont, [(0.07,0.07,0.23,0.23), (0.58,0.07,0.74,0.23)])
R(pmos_1_1, Metal1, [(0.07,0,0.23,0.3), (0.07,0,0.23,0.3), (0.58,0,0.74,0.3), (0.58,0,0.74,0.3)])
R(pmos_1_1, pSD, [(-0.18,-0.3,0.99,0.6)])
R(pmos_1_1, NWell, [(-0.31,-0.315,1.12,0.61)])
R(pmos_1_1, Substrate, [(0.51,0,0.81,0.3)])
R(pmos_1_1, HeatTrans, [(0.34,-0.18,0.47,0.48)])
pmos_1_1.add(gdstk.Label('pmos', (0.405,0.15), layer=63, texttype=0))
pmos_1_1.add(gdstk.Label('pmos', (0.405,0.15), layer=51, texttype=0))

inv_d1_1 = lib.new_cell('INV_D1$1')
R(inv_d1_1, Activ, [(-0.68,-1.24,0.54,-1.08), (-0.655,0.89,0.575,1.05)])
R(inv_d1_1, GatPoly, [(-0.075,-0.2,0.055,0.005), (-0.275,-0.19,-0.075,0.01)])
R(inv_d1_1, Cont, [(-0.375,-1.24,-0.215,-1.08), (-0.255,-0.17,-0.095,-0.01), (-0.345,0.89,-0.185,1.05)])
R(inv_d1_1, Metal1, [(-0.375,-1.24,-0.215,-0.73), (0.165,-0.73,0.355,0.485), (-0.255,-0.17,-0.095,-0.01), (-0.345,0.485,-0.185,1.05)])
R(inv_d1_1, Metal1_pin, [(-0.375,-1.24,-0.215,-1.08), (-0.255,-0.17,-0.095,-0.01), (0.165,-0.17,0.355,0.01), (-0.345,0.89,-0.185,1.05)])
R(inv_d1_1, pSD, [(-0.705,-1.315,0.6,-1.015)])
R(inv_d1_1, NWell, [(-0.725,0.795,0.705,1.195)])
R(inv_d1_1, Substrate, [(0.095,0.185,0.395,0.485)])
inv_d1_1.add(gdstk.Reference(pmos_1_1, (-0.415,0.185)))
inv_d1_1.add(gdstk.Reference(nmos_1, (-0.445,-0.605)))
inv_d1_1.add(gdstk.Label('nmos', (-0.015,-0.75), layer=63, texttype=0))
inv_d1_1.add(gdstk.Label('VSS', (-0.26,-1.105), layer=8, texttype=2))
inv_d1_1.add(gdstk.Label('VDD', (-0.215,1.025), layer=8, texttype=2))
inv_d1_1.add(gdstk.Label('VIN', (-0.155,-0.05), layer=8, texttype=2))
inv_d1_1.add(gdstk.Label('VOUT', (0.315,-0.025), layer=8, texttype=2))
inv_d1_1.add(gdstk.Label('VIN', (-0.23,-0.145), layer=8, texttype=25))

c_or = lib.new_cell('OR')
R(c_or, Metal1, [(1.595,0.885,1.925,1.045), (-0.03,0.9,0.35,1.06)])
R(c_or, Metal2, [(0.84,1.3,2.675,1.5)])
R(c_or, Metal3, [(2.45,0.875,2.65,1.555)])
c_or.add(gdstk.Reference(nor, (0,0)))
c_or.add(gdstk.Reference(inv_d1_1, (2.725,1.065)))
c_or.add(gdstk.Reference(via2_constraint_1, (2.45,1.3)))
c_or.add(gdstk.Reference(via1_constraint_1, (2.45,0.875)))
c_or.add(gdstk.Reference(via2_constraint_1, (2.45,0.875)))
c_or.add(gdstk.Label('VB', (0,0.92), layer=8, texttype=25))
c_or.add(gdstk.Label('VDD', (0.165,1.975), layer=8, texttype=25))
c_or.add(gdstk.Label('VSS', (0.19,-0.15), layer=8, texttype=25))
c_or.add(gdstk.Label('VA', (1.875,0.895), layer=8, texttype=25))
c_or.add(gdstk.Label('VOUT', (3.03,0.99), layer=8, texttype=25))

fa_placement = lib.new_cell('FA_Placement')
fa_placement.add(gdstk.Reference(xor_track, (0.75,2.06)))
fa_placement.add(gdstk.Reference(and_, (-0.9,0)))
fa_placement.add(gdstk.Reference(and_, (2.47,0)))
fa_placement.add(gdstk.Reference(and_, (9.24,0)))
fa_placement.add(gdstk.Reference(c_or, (6.18,0.25)))
fa_placement.add(gdstk.Reference(c_or, (12.93,0.25)))
fa_placement.add(gdstk.Reference(xor_track, (7.975,2.06)))

c_fa = lib.new_cell('FA')
R(c_fa, NWell, [(2,2.11,17.26,3.385), (2.035,5.445,16.345,6.77)])
c_fa.add(gdstk.Reference(fa_placement, (0.9,0)))

lib.write_gds('FA.gds')
